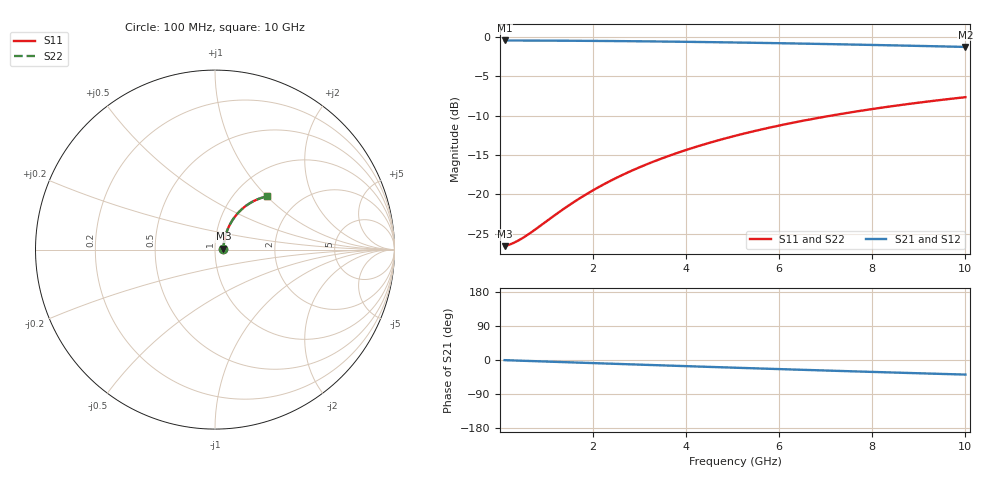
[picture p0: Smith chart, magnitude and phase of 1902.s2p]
# Hz S RI R 50.00
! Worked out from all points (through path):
!   100 points, 100 MHz to 10 GHz, reference 50 ohm
!   highest |S21| = -0.41 dB at 100 MHz (marker M1); lowest = -1.2 dB at 10 GHz (marker M2)
!   group delay of S21, straight-line fit = 10.7 ps
!   lowest |S11| = -26.6 dB at 100 MHz (marker M3), VSWR 1.10, Z = 54.9 + j0.488 ohm
!   |S11| at or under -10 dB: start of sweep to 7.097 GHz
!   |S22| runs from -26.6 to -7.6 dB; largest |S21 - S12| = 0
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1e8  0.0466 0.00443  0.9534 -0.00683  0.9534 -0.00683  0.0466 0.00443
2e8  0.047 0.00886  0.953 -0.0137  0.953 -0.0137  0.047 0.00886
3e8  0.0473 0.0133  0.9526 -0.0205  0.9526 -0.0205  0.0473 0.0133
4e8  0.0477 0.0177  0.9522 -0.0273  0.9522 -0.0273  0.0477 0.0177
5e8  0.0482 0.0221  0.9517 -0.0341  0.9517 -0.0341  0.0482 0.0221
7e8  0.0492 0.0309  0.9507 -0.0477  0.9507 -0.0477  0.0492 0.0309
1.4e9  0.0544 0.0613  0.945 -0.0949  0.945 -0.0949  0.0544 0.0613
1.8e9  0.0587 0.0783  0.9403 -0.1216  0.9403 -0.1216  0.0587 0.0783
2.2e9  0.0639 0.095  0.9347 -0.1479  0.9347 -0.1479  0.0639 0.095
2.6e9  0.0699 0.1114  0.928 -0.1739  0.928 -0.1739  0.0699 0.1114
3e9  0.0769 0.1273  0.9204 -0.1994  0.9204 -0.1994  0.0769 0.1273
3.4e9  0.0847 0.1427  0.9119 -0.2244  0.9119 -0.2244  0.0847 0.1427
3.8e9  0.0932 0.1575  0.9024 -0.2489  0.9024 -0.2489  0.0932 0.1575
4.2e9  0.1026 0.1718  0.8921 -0.2729  0.8921 -0.2729  0.1026 0.1718
4.6e9  0.1126 0.1854  0.8811 -0.2962  0.8811 -0.2962  0.1126 0.1854
5.1e9  0.126 0.2015  0.8661 -0.3244  0.8661 -0.3244  0.126 0.2015
5.9e9  0.1494 0.225  0.8401 -0.3672  0.8401 -0.3672  0.1494 0.225
6.7e9  0.1747 0.2454  0.8117 -0.4072  0.8117 -0.4072  0.1747 0.2454
7.5e9  0.2015 0.2627  0.7814 -0.444  0.7814 -0.444  0.2015 0.2627
8.4e9  0.2329 0.2784  0.7456 -0.4818  0.7456 -0.4818  0.2329 0.2784
9.2e9  0.2615 0.2891  0.7126 -0.5122  0.7126 -0.5122  0.2615 0.2891
1e10  0.2904 0.2967  0.6789 -0.5397  0.6789 -0.5397  0.2904 0.2967
